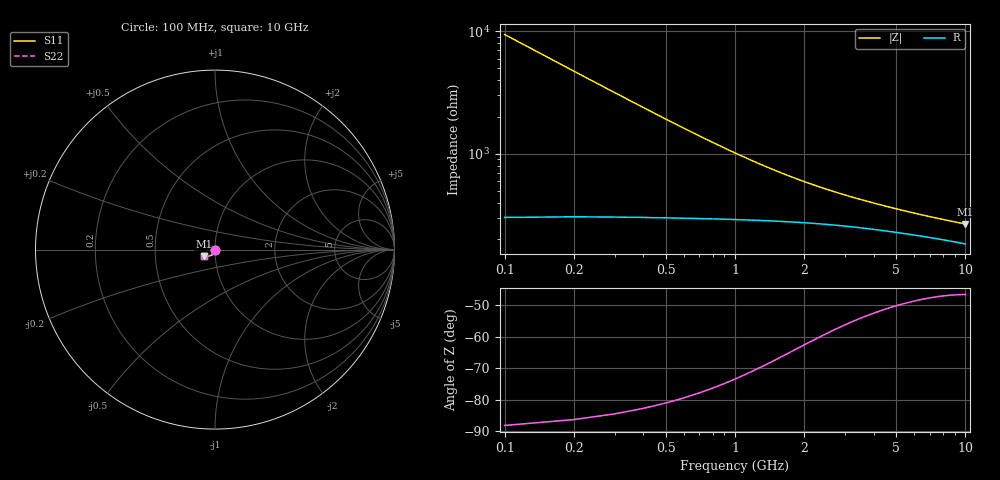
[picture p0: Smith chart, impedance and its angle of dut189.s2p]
! Touchstone file exported from HFSS 2024.1.0
!  File:  C:/UserFiles/LocalFiles/RDL_TSV_Batchsim/temp_TSV1_189_1778766619.aedt
!  Generated:  09:55:34 PM May 14, 2026
!  Design:  TSV1
!  Project:  temp_TSV1_189_1778766619
!  Setup:  Setup1
!  Solution:  Sweep
! Variables:
!  dtsv = 21.37um
!  hbump = 3um
!  htsv = 65.03um
!  lrdl = 252.1521522um
!  p = 40
!  p1 = 56.94um
!  t = 500um
!  trdl = 3um
!  wrdl = 24.89489489um
# GHz S MA R 50.000000
! Terminal data exported
! Port[1] = TSV22_T1
! Port[2] = TSV22_T2
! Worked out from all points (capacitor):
!   100 points, 100 MHz to 10 GHz, reference 50 ohm
!   read as one part in shunt: C = 168 fF near 100 MHz
!   lowest |Z| = 267 ohm at 10 GHz (marker M1)
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0.1  0.002362 -90.5  0.9998 -0.2  0.9998 -0.2  0.002362 -90.5
! Gamma 0 0 0 0
! Port Impedance 50 0 50 0
0.2  0.004717 -93.5  0.9996 -0.3  0.9996 -0.3  0.004717 -93.5
0.3  0.007053 -95.8  0.9991 -0.5  0.9991 -0.5  0.007053 -95.8
0.4  0.009357 -98.0  0.9985 -0.7  0.9985 -0.7  0.009357 -98.0
0.5  0.01162 -100.0  0.9978 -0.8  0.9978 -0.8  0.01162 -100.0
0.6  0.01382 -102.0  0.9969 -1.0  0.9969 -1.0  0.01382 -102.0
0.7  0.01596 -103.9  0.9959 -1.1  0.9959 -1.1  0.01596 -103.9
0.8  0.01803 -105.7  0.9949 -1.2  0.9949 -1.2  0.01803 -105.7
0.9  0.02003 -107.5  0.9937 -1.4  0.9937 -1.4  0.02003 -107.5
1.1  0.0238 -110.9  0.9913 -1.6  0.9913 -1.6  0.0238 -110.9
1.4  0.02886 -115.4  0.9875 -1.9  0.9875 -1.9  0.02886 -115.4
1.6  0.03187 -118.1  0.985 -2.1  0.985 -2.1  0.03187 -118.1
1.8  0.0346 -120.5  0.9825 -2.2  0.9825 -2.2  0.0346 -120.5
2.1  0.03825 -123.7  0.9789 -2.4  0.9789 -2.4  0.03825 -123.7
2.5  0.04241 -127.3  0.9745 -2.7  0.9745 -2.7  0.04241 -127.3
2.9  0.04596 -130.3  0.9705 -2.9  0.9705 -2.9  0.04596 -130.3
3.4  0.04972 -133.3  0.9662 -3.1  0.9662 -3.1  0.04972 -133.3
4.2  0.05468 -137.1  0.9604 -3.4  0.9604 -3.4  0.05468 -137.1
5.1  0.05915 -140.3  0.955 -3.7  0.955 -3.7  0.05915 -140.3
6.7  0.06521 -144.5  0.9476 -4.1  0.9476 -4.1  0.06521 -144.5
8.4  0.06989 -147.5  0.9418 -4.6  0.9418 -4.6  0.06989 -147.5
10  0.07325 -149.6  0.9378 -5.0  0.9378 -5.0  0.07325 -149.6
